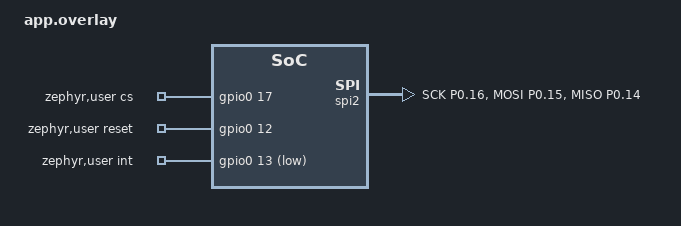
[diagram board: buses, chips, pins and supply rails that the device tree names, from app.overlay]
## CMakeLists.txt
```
#
# AD5941 3-electrode potentiostat firmware (nRF52832, NCS v3.4)
# 3전극 정전위 크로노암페로메트리 브링업 펌웨어
#
cmake_minimum_required(VERSION 3.20.0)

find_package(Zephyr REQUIRED HINTS $ENV{ZEPHYR_BASE})
project(ad5941_pstat)

# ADI AD5940 라이브러리는 대상 칩을 컴파일 타임에 선택해야 함.
# AD5941 = AD594x 계열 -> CHIPSEL_594X. (헤더 상단의 #error 방지)
target_compile_definitions(app PRIVATE CHIPSEL_594X)

target_sources(app PRIVATE
	src/main.c
	src/databuf.c              # 무손실 데이터 버퍼
	src/cmd.c                  # JSON 명령 파서
	src/ad5940_port.c          # nRF52832 / Zephyr HAL 포트 계층
	src/ad5940lib/ad5940.c     # ADI 공식 라이브러리 (벤더링, 수정 금지)
)

target_include_directories(app PRIVATE src/ad5940lib)
```

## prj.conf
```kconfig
# ============================================================
#  AD5941 potentiostat 브링업 (RTT 로그 + BLE NUS 스트리밍)
# ============================================================

# ---- Bluetooth (BLE NUS) : emg_ble 구조 재활용 ----
CONFIG_BT=y
CONFIG_BT_PERIPHERAL=y
CONFIG_BT_DEVICE_NAME="ad5941"
CONFIG_BT_NUS=y

# MTU / throughput (전류값 한 줄이 기본 MTU 20B 를 넘을 수 있어 크게)
CONFIG_BT_L2CAP_TX_MTU=247
CONFIG_BT_BUF_ACL_TX_SIZE=251
CONFIG_BT_BUF_ACL_RX_SIZE=251
CONFIG_BT_CTLR_DATA_LENGTH_MAX=251
# 폰이 MTU 를 안 올려도 우리가 먼저 교환하려면 GATT client 절차 필요.
CONFIG_BT_GATT_CLIENT=y

# 32MHz HFXO 시동 대기시간 여유 (emg_ble 이력: 느린 크리스탈 재시동 실패 우회).
# 이 보드에서 단독 구동 시 광고가 불안정하면 main.c 의 HFXO_ALWAYS_ON=1 도 고려.
CONFIG_MPSL_HFCLK_LATENCY=5000

# ---- Peripherals ----
CONFIG_SPI=y
CONFIG_GPIO=y

# ---- 부동소수점 ----
# nRF52832 = Cortex-M4F (하드웨어 FPU 있음).
# AD5940_ADCCode2Volt() 등 라이브러리가 float 를 쓰므로 FPU 켬.
CONFIG_FPU=y
# 로그에서 전류값을 %f 로 찍기 위해 printf float 지원 필요.
CONFIG_CBPRINTF_FP_SUPPORT=y

# ---- LFCLK 소스 ----
# 새 커스텀 보드라 32.768kHz 크리스탈 실장 여부가 불확실 -> 내부 RC 로 시작(무조건 기동).
# RC 도 BLE 에 쓸 수 있으나(NCS 가 자동 보정), 연결/광고가 불안정하면 크리스탈 실장 후
# 아래 한 줄을 지워 기본값(XTAL)로 전환할 것.
CONFIG_CLOCK_CONTROL_NRF_K32SRC_RC=y

# ---- Logging: SEGGER RTT, non-blocking(overwrite) ----
# overwrite 모드 = RTT Viewer 가 안 붙어 있어도 절대 블록되지 않음.
CONFIG_LOG=y
CONFIG_USE_SEGGER_RTT=y
CONFIG_LOG_BACKEND_RTT=y
CONFIG_LOG_BACKEND_RTT_MODE_OVERWRITE=y
CONFIG_SEGGER_RTT_BUFFER_SIZE_UP=2048
CONFIG_LOG_MODE_DEFERRED=y

# ---- Stacks ----
# ad5940 라이브러리 + float 연산 여유 있게.
CONFIG_MAIN_STACK_SIZE=4096
CONFIG_HEAP_MEM_POOL_SIZE=2048
```

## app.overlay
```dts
/*
 * ============================================================
 *  AD5941 <-> nRF52832 배선 정의  (실제 PCB 스키매틱 기준 확정)
 *  ------------------------------------------------------------
 *  AD5941 신호      넷          nRF52832 핀    비고
 *  ---------------  ----------  ------------   ----------------------
 *  SCLK    (pin16)  AD_SCLK     P0.16          SPI clock (<=8MHz on nRF)
 *  MOSI    (pin17)  AD_MOSI     P0.15          nRF -> AD5941 (SDI)
 *  MISO    (pin18)  AD_MISO     P0.14          AD5941 -> nRF (SDO)
 *  CS      (pin15)  AD_CS       P0.17          active-low, 펌웨어가 수동 토글
 *  RESET   (pin22)  AD_RESET    P0.12          active-low 하드웨어 리셋
 *  INT/GPIO0(pin19) AD_INT0     P0.13          AD5941 인터럽트 출력(active-low)
 *
 *  전극: CE0(47)=상대, RE0(48)=기준, SE0(45)=작업(WE). VBIAS0/VZERO0 연결, DE0 DNP.
 *  AD5941 XTALO(12) 미연결 -> 내부 오실레이터 사용 (펌웨어도 내부 osc 가정).
 *  주의: AD5941 SPI 는 최대 16MHz 지만 nRF52832 SPIM 은 8MHz 가 상한.
 * ============================================================
 */

#include <zephyr/dt-bindings/regulator/nrf5x.h>

/*
 * 전원 레귤레이터: LDO 모드 강제.
 * (DK 정의는 DC/DC 를 켜는데, DCC 핀에 외부 인덕터가 없는 커스텀 보드에서
 *  DC/DC 가 켜지면 레일이 무너짐. LDO 는 인덕터 없이 항상 동작.)
 */
&reg {
	regulator-initial-mode = <NRF5X_REG_MODE_LDO>;
};

&pinctrl {
	spi2_default: spi2_default {
		group1 {
			psels = <NRF_PSEL(SPIM_SCK, 0, 16)>,   /* SCLK : P0.16 */
				<NRF_PSEL(SPIM_MOSI, 0, 15)>,  /* MOSI : P0.15 */
				<NRF_PSEL(SPIM_MISO, 0, 14)>;  /* MISO : P0.14 */
		};
	};

	spi2_sleep: spi2_sleep {
		group1 {
			psels = <NRF_PSEL(SPIM_SCK, 0, 16)>,
				<NRF_PSEL(SPIM_MOSI, 0, 15)>,
				<NRF_PSEL(SPIM_MISO, 0, 14)>;
			low-power-enable;
		};
	};
};

&spi2 {
	compatible = "nordic,nrf-spim";
	status = "okay";
	pinctrl-0 = <&spi2_default>;
	pinctrl-1 = <&spi2_sleep>;
	pinctrl-names = "default", "sleep";
	/* CS 는 여기 cs-gpios 로 두지 않는다: ad5940 라이브러리가 멀티바이트
	 * 전송 한 프레임 안에서 CS 를 직접 토글하므로, 드라이버가 CS 를 건드리면
	 * 프로토콜이 깨진다. -> CS 는 아래 zephyr,user 의 GPIO 로 수동 제어. */
};

/ {
	zephyr,user {
		/* CS/RESET: ACTIVE_HIGH 로 선언해 포트가 물리 레벨을 직접 구동
		 * (AD5940_CsClr=물리 LOW=선택, AD5940_CsSet=물리 HIGH=해제 의미와 일치). */
		cs-gpios    = <&gpio0 17 GPIO_ACTIVE_HIGH>;  /* CS_N    : P0.17 */
		reset-gpios = <&gpio0 12 GPIO_ACTIVE_HIGH>;  /* RESET_N : P0.12 */
		/* INT 는 AD5941 GP0 인터럽트 출력이 active-low. */
		int-gpios   = <&gpio0 13 GPIO_ACTIVE_LOW>;   /* INT     : P0.13 */
	};
};
```

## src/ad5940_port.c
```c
/*
 * ============================================================
 *  ad5940_port.c
 *  ADI AD5940 라이브러리 <-> nRF52832 / Zephyr HAL 포트 계층
 *  ------------------------------------------------------------
 *  ad5940.c 가 요구하는 저수준 함수만 구현한다:
 *    - AD5940_ReadWriteNBytes : SPI 풀듀플렉스 전송 (CS 를 건드리지 않음!)
 *    - AD5940_CsClr / CsSet    : CS 물리 LOW / HIGH
 *    - AD5940_RstClr / RstSet  : RESET 물리 LOW / HIGH
 *    - AD5940_Delay10us        : 10us 단위 지연
 *    - AD5940_MCUResourceInit  : SPI/GPIO 초기화
 *    - AD5940_GetMCUIntFlag / ClrMCUIntFlag : GP0 인터럽트 플래그
 *
 *  라이브러리(ad5940.c)가 AD5940_ReadReg/WriteReg 안에서 CsClr...CsSet 로
 *  프레임을 직접 감싸므로, 여기 SPI 전송은 절대 CS 를 토글하면 안 된다.
 *  => spi_config 에 cs 를 넣지 않고, CS 를 별도 GPIO 로 수동 제어한다.
 * ============================================================
 */

#include <zephyr/kernel.h>
#include <zephyr/device.h>
#include <zephyr/drivers/spi.h>
#include <zephyr/drivers/gpio.h>
#include <zephyr/logging/log.h>

#include "ad5940.h"

LOG_MODULE_REGISTER(ad5940_port, LOG_LEVEL_INF);

/* ---- SPI ---- */
#define SPI_NODE DT_NODELABEL(spi2)
static const struct device *const spi_dev = DEVICE_DT_GET(SPI_NODE);

/* CS 는 드라이버가 관리하지 않는다 (cs 필드 비움). SPI mode 0, 8bit, MSB first. */
static const struct spi_config spi_cfg = {
	.frequency = 1000000U,                      /* 1MHz: 신호 무결성 우선(브링업). 확인되면 올려도 됨(상한 8MHz) */
	.operation = SPI_WORD_SET(8) | SPI_TRANSFER_MSB |
		     SPI_OP_MODE_MASTER,            /* CPOL=0 CPHA=0 = mode 0 */
	.slave = 0,
	.cs = { 0 },
};

/* ---- 제어 GPIO (app.overlay 의 zephyr,user) ---- */
#define ZUSER DT_PATH(zephyr_user)
static const struct gpio_dt_spec cs_gpio  = GPIO_DT_SPEC_GET(ZUSER, cs_gpios);
static const struct gpio_dt_spec rst_gpio = GPIO_DT_SPEC_GET(ZUSER, reset_gpios);
static const struct gpio_dt_spec int_gpio = GPIO_DT_SPEC_GET(ZUSER, int_gpios);

/* ---- INT 플래그 ---- */
static volatile uint32_t ucInterrupted;
static struct gpio_callback int_cb_data;

static void ad5940_int_isr(const struct device *dev, struct gpio_callback *cb,
			   uint32_t pins)
{
	ARG_UNUSED(dev);
	ARG_UNUSED(cb);
	ARG_UNUSED(pins);
	ucInterrupted = 1;
}

/* ============================================================
 *  SPI 전송 (CS 미제어)
 * ============================================================ */
void AD5940_ReadWriteNBytes(unsigned char *pSendBuffer,
			    unsigned char *pRecvBuffer,
			    unsigned long length)
{
	const struct spi_buf tx_buf = { .buf = pSendBuffer, .len = length };
	const struct spi_buf rx_buf = { .buf = pRecvBuffer, .len = length };
	const struct spi_buf_set tx = { .buffers = &tx_buf, .count = 1 };
	const struct spi_buf_set rx = { .buffers = &rx_buf, .count = 1 };

	int err = spi_transceive(spi_dev, &spi_cfg, &tx, &rx);

	if (err) {
		LOG_ERR("spi_transceive failed: %d", err);
	}
}

/* ============================================================
 *  CS / RESET (물리 레벨 직접 구동; overlay 에서 ACTIVE_HIGH 선언)
 * ============================================================ */
void AD5940_CsClr(void)  { gpio_pin_set_dt(&cs_gpio, 0);  }  /* CS LOW  (선택)   */
void AD5940_CsSet(void)  { gpio_pin_set_dt(&cs_gpio, 1);  }  /* CS HIGH (해제)   */
void AD5940_RstClr(void) { gpio_pin_set_dt(&rst_gpio, 0); }  /* RESET LOW (assert) */
void AD5940_RstSet(void) { gpio_pin_set_dt(&rst_gpio, 1); }  /* RESET HIGH(release)*/

/* ============================================================
 *  지연 (인자는 10us 단위)
 * ============================================================ */
void AD5940_Delay10us(uint32_t time)
{
	if (time == 0U) {
		return;
	}
	/* 10us * time. 긴 지연은 CPU 를 재우고, 짧은 지연은 busy-wait. */
	if (time >= 100U) {                 /* >=1ms 는 sleep */
		k_usleep(time * 10U);
	} else {
		k_busy_wait(time * 10U);
	}
}

/* ============================================================
 *  MCU 인터럽트 플래그 (라이브러리가 FIFO/시퀀서 인터럽트에 사용)
 * ============================================================ */
uint32_t AD5940_GetMCUIntFlag(void) { return ucInterrupted; }
uint32_t AD5940_ClrMCUIntFlag(void) { ucInterrupted = 0; return 1; }

/* ============================================================
 *  MCU 리소스 초기화 (SPI 준비 확인 + GPIO 설정)
 *  반환 0 = 성공.
 * ============================================================ */
uint32_t AD5940_MCUResourceInit(void *pCfg)
{
	ARG_UNUSED(pCfg);

	if (!device_is_ready(spi_dev)) {
		LOG_ERR("SPI device not ready");
		return 1;
	}
	if (!gpio_is_ready_dt(&cs_gpio) || !gpio_is_ready_dt(&rst_gpio) ||
	    !gpio_is_ready_dt(&int_gpio)) {
		LOG_ERR("control GPIO not ready");
		return 1;
	}

	/* CS 해제(HIGH), RESET 릴리스(HIGH) 상태로 시작 */
	gpio_pin_configure_dt(&cs_gpio, GPIO_OUTPUT_INACTIVE);
	gpio_pin_set_dt(&cs_gpio, 1);
	gpio_pin_configure_dt(&rst_gpio, GPIO_OUTPUT_INACTIVE);
	gpio_pin_set_dt(&rst_gpio, 1);

	/* INT: active-low 엣지 인터럽트 */
	gpio_pin_configure_dt(&int_gpio, GPIO_INPUT);
	gpio_pin_interrupt_configure_dt(&int_gpio, GPIO_INT_EDGE_TO_ACTIVE);
	gpio_init_callback(&int_cb_data, ad5940_int_isr, BIT(int_gpio.pin));
	gpio_add_callback(int_gpio.port, &int_cb_data);

	ucInterrupted = 0;
	return 0;
}
```

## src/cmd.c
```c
/*
 * cmd.c — 소형 JSON 명령 파서 (고정 스키마 전용, 범용 아님)
 *  우리 명령 집합만 안전하게 뽑아내는 최소 구현.
 */
#include "cmd.h"
#include <zephyr/sys/util.h>
#include <stdlib.h>
#include <string.h>
#include <stdio.h>

/* "key" 뒤 콜론 다음 값의 시작 포인터 반환 (없으면 NULL) */
static const char *jfind(const char *buf, const char *key)
{
	char pat[24];
	snprintf(pat, sizeof(pat), "\"%s\"", key);
	const char *p = strstr(buf, pat);
	if (!p) {
		return NULL;
	}
	p += strlen(pat);
	while (*p && *p != ':') {
		p++;
	}
	if (*p != ':') {
		return NULL;
	}
	p++;
	while (*p == ' ' || *p == '\t') {
		p++;
	}
	return p;
}

static bool jint(const char *buf, const char *key, long *out)
{
	const char *p = jfind(buf, key);
	if (!p) {
		return false;
	}
	char *end = NULL;
	long v = strtol(p, &end, 10);
	if (end == p) {
		return false;
	}
	*out = v;
	return true;
}

static bool jstr(const char *buf, const char *key, char *out, size_t n)
{
	const char *p = jfind(buf, key);
	if (!p || *p != '"') {
		return false;
	}
	p++;
	size_t i = 0;
	while (*p && *p != '"' && i < n - 1) {
		out[i++] = *p++;
	}
	out[i] = '\0';
	return true;
}

bool cmd_parse(const char *json, size_t len, struct cmd *out,
	       const struct pstat_config *base)
{
	char buf[192];
	size_t n = (len < sizeof(buf) - 1) ? len : sizeof(buf) - 1;
	memcpy(buf, json, n);
	buf[n] = '\0';

	char c[16];
	if (!jstr(buf, "cmd", c, sizeof(c))) {
		return false;
	}

	memset(out, 0, sizeof(*out));
	long v;

	if (!strcmp(c, "ack")) {
		out->type = CMD_ACK;
		if (jint(buf, "seq", &v)) {
			out->ack_seq = (uint32_t)v;
		}
		return true;
	}
	if (!strcmp(c, "stop")) {
		out->type = CMD_STOP;
		return true;
	}
	if (!strcmp(c, "status")) {
		out->type = CMD_STATUS;
		return true;
	}
	if (!strcmp(c, "cal")) {
		out->type = CMD_CAL;
		return true;
	}
	if (!strcmp(c, "config") || !strcmp(c, "start")) {
		out->type = strcmp(c, "start") ? CMD_CONFIG : CMD_START;
		out->cfg = *base;   /* 미지정 필드는 현재값 유지 */

		if (jint(buf, "rate", &v)) {
			out->cfg.rate_hz = (uint16_t)CLAMP(v, 1, 100);
		}
		char m[12];
		if (jstr(buf, "mode", m, sizeof(m))) {
			if (!strcmp(m, "continuous")) {
				out->cfg.mode = PSTAT_MODE_CONTINUOUS;
			} else if (!strcmp(m, "timed")) {
				out->cfg.mode = PSTAT_MODE_TIMED;
			} else if (!strcmp(m, "cycle")) {
				out->cfg.mode = PSTAT_MODE_CYCLE;
			}
		}
		/* 초 값 상한: *1000(ms) 가 uint32 를 넘지 않게 (49.7일 한계 아래) */
		if (jint(buf, "dur", &v)) {
			out->cfg.duration_s = (uint32_t)CLAMP(v, 0, 4000000);
		}
		if (jint(buf, "on", &v)) {
			out->cfg.on_s = (uint32_t)CLAMP(v, 0, 4000000);
		}
		if (jint(buf, "off", &v)) {
			out->cfg.off_s = (uint32_t)CLAMP(v, 0, 4000000);
		}
		if (jint(buf, "cycles", &v)) {
			out->cfg.cycles = (uint32_t)MAX(v, 0);
		}
		if (jint(buf, "auto", &v)) {
			out->cfg.autorange = (v != 0);
		}
		if (jint(buf, "range", &v)) {
			out->cfg.range_idx = (uint8_t)MAX(v, 0);
		}
		return true;
	}
	return false;
}
```

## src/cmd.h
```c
/*
 * cmd.h — BLE(NUS)로 받는 JSON 명령 파서
 *  명령 예:
 *   {"cmd":"start","mode":"cycle","rate":10,"on":5,"off":295,"cycles":0,"auto":1}
 *   {"cmd":"config",...}   {"cmd":"stop"}   {"cmd":"status"}
 *   {"cmd":"ack","seq":1234}
 *  전위는 펌웨어 고정(0.5V)이라 명령에 없음.
 */
#ifndef CMD_H_
#define CMD_H_

#include "pstat.h"
#include <stddef.h>

enum cmd_type {
	CMD_NONE = 0,
	CMD_CONFIG,
	CMD_START,
	CMD_STOP,
	CMD_ACK,
	CMD_STATUS,
	CMD_CAL,     /* {"cmd":"cal"} — RCAL 자동캘 온디맨드 실행 (idle 에서만) */
};

struct cmd {
	enum cmd_type type;
	struct pstat_config cfg; /* CONFIG/START: base 에서 시작해 지정 필드만 덮음 */
	uint32_t ack_seq;        /* ACK */
};

/* JSON 한 줄 파싱. base=현재 설정(미지정 필드 기본값). 성공 시 true. */
bool cmd_parse(const char *json, size_t len, struct cmd *out,
	       const struct pstat_config *base);

#endif /* CMD_H_ */
```

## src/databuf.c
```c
/*
 * databuf.c — 무손실 데이터 버퍼 구현 (RAM 링버퍼 + ACK 윈도우)
 *  seq 비교는 전부 부호있는 모듈러 차이((int32_t)(x-y)) 사용
 *  -> uint32 랩어라운드에도 안전 (497일+ 연속운전 대비).
 */
#include "databuf.h"
#include <zephyr/kernel.h>
#include <string.h>

/* 링버퍼 크기: 16B/샘플 * 768 = 12KB (RAM 여유 확보).
 * cycle 모드(측정 5s@10Hz=50샘플/주기)면 ~15주기 무연결 버퍼링.
 * 고속 연속(100Hz)이면 ~7.5s. 장시간은 향후 플래시 spill 로 확장. */
#define RING_N 768U

/* 모듈러 대소비교: a>b 이면 양수 (랩 안전) */
#define SEQ_GT(a, b)  ((int32_t)((a) - (b)) > 0)
#define SEQ_GE(a, b)  ((int32_t)((a) - (b)) >= 0)

static struct pstat_sample ring[RING_N];
static uint32_t w_idx;   /* 다음 write seq */
static uint32_t a_idx;   /* seq < a_idx 는 ACK/해제됨 */
static uint32_t s_idx;   /* 다음 send seq (a<=s<=w) */
static bool     had_gap;
static K_MUTEX_DEFINE(lock);

void databuf_reset(void)
{
	k_mutex_lock(&lock, K_FOREVER);
	w_idx = a_idx = s_idx = 0;
	had_gap = false;
	k_mutex_unlock(&lock);
}

void databuf_push(const struct pstat_sample *s)
{
	k_mutex_lock(&lock, K_FOREVER);
	ring[w_idx % RING_N] = *s;
	ring[w_idx % RING_N].seq = w_idx;   /* seq 강제 부여 */
	w_idx++;
	if (w_idx - a_idx > RING_N) {        /* 용량 초과 -> 가장 오래된 것 손실 */
		a_idx = w_idx - RING_N;
		had_gap = true;
		if (SEQ_GT(a_idx, s_idx)) {
			s_idx = a_idx;
		}
	}
	k_mutex_unlock(&lock);
}

uint32_t databuf_peek_batch(struct pstat_sample *out, uint32_t max, uint32_t *base)
{
	uint32_t k = 0;
	k_mutex_lock(&lock, K_FOREVER);
	*base = s_idx;
	uint32_t i = s_idx;
	while (SEQ_GT(w_idx, i) && k < max) {
		out[k++] = ring[i % RING_N];
		i++;
	}
	k_mutex_unlock(&lock);
	return k;
}

void databuf_commit_sent(uint32_t base, uint32_t n)
{
	k_mutex_lock(&lock, K_FOREVER);
	uint32_t target = base + n;
	/* 절대위치 확정: 이미 overflow 로 s 가 target 이상으로 당겨졌으면 유지
	 * (이중전진 금지 -> 살아있는 미전송분 보존) */
	if (SEQ_GT(target, s_idx)) {
		s_idx = target;
	}
	if (SEQ_GT(s_idx, w_idx)) {
		s_idx = w_idx;
	}
	k_mutex_unlock(&lock);
}

void databuf_ack(uint32_t acked_seq)
{
	k_mutex_lock(&lock, K_FOREVER);
	uint32_t na = acked_seq + 1;
	if (SEQ_GT(na, a_idx) && SEQ_GE(w_idx, na)) {   /* 유효 범위 내에서만 */
		a_idx = na;
		if (SEQ_GT(a_idx, s_idx)) {
			s_idx = a_idx;
		}
	}
	k_mutex_unlock(&lock);
}

void databuf_rewind_unsent(void)
{
	k_mutex_lock(&lock, K_FOREVER);
	s_idx = a_idx;   /* 미ACK분 처음부터 재전송 */
	k_mutex_unlock(&lock);
}

uint32_t databuf_pending(void)
{
	k_mutex_lock(&lock, K_FOREVER);
	uint32_t v = w_idx - s_idx;
	k_mutex_unlock(&lock);
	return v;
}

uint32_t databuf_unacked(void)
{
	k_mutex_lock(&lock, K_FOREVER);
	uint32_t v = w_idx - a_idx;
	k_mutex_unlock(&lock);
	return v;
}

uint32_t databuf_capacity(void) { return RING_N; }

bool databuf_gap(void)
{
	k_mutex_lock(&lock, K_FOREVER);
	bool g = had_gap;
	k_mutex_unlock(&lock);
	return g;
}
```

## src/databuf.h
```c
/*
 * databuf.h — 무손실 데이터 버퍼 (RAM 링버퍼 + ACK 윈도우)
 * ------------------------------------------------------------
 *  seq 는 전역 단조증가(uint32, 랩어라운드 안전 비교 사용). 세 포인터:
 *    a(ack) <= s(sent) <= w(write)
 *  - push:  seq=w 부여 후 저장. 용량 초과 시 가장 오래된 것 덮어씀(gap 표시).
 *  - peek_batch: 미전송분(s..w) 복사 + 배치 시작 seq(base) 반환 (s 전진 안함).
 *  - commit_sent(base,n): s 를 base+n 절대위치로 확정.
 *      전송(락 해제) 중 overflow 로 a/s 가 전진했어도 이중전진 없이
 *      s = max(s, base+n) (w 상한) 로만 이동 -> 유효 미전송분 보존.
 *  - ack: 앱이 받은 최대 seq 까지 해제(a 전진).
 *  - rewind_unsent: 재연결 시 미ACK분(a..) 부터 재전송(s=a).
 *  => 앱 ACK 전엔 버퍼에서 안 지워지므로 재연결하면 무손실 재전송.
 *
 *  [향후] 용량 초과 임박 시 플래시 spill (TODO, 이번엔 RAM 만).
 */
#ifndef DATABUF_H_
#define DATABUF_H_

#include "pstat.h"

void     databuf_reset(void);
void     databuf_push(const struct pstat_sample *s);      /* seq 자동부여 */
/* 미전송분 복사. *base=배치 시작 seq. 반환=복사 개수 (s 전진 안함) */
uint32_t databuf_peek_batch(struct pstat_sample *out, uint32_t max, uint32_t *base);
void     databuf_commit_sent(uint32_t base, uint32_t n);  /* base..base+n-1 전송확정 */
void     databuf_ack(uint32_t acked_seq);                 /* acked_seq 까지 해제 */
void     databuf_rewind_unsent(void);                     /* s=a 로 되감기 */

uint32_t databuf_pending(void);   /* 미전송 개수 (w-s) */
uint32_t databuf_unacked(void);   /* 미ACK 개수 (w-a) */
uint32_t databuf_capacity(void);  /* 링버퍼 용량 */
bool     databuf_gap(void);       /* 손실(덮어쓰기) 발생 여부 */

#endif /* DATABUF_H_ */
```

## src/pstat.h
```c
/*
 * pstat.h — 크로노암페로메트리 포텐쇼스탯 공유 타입
 * 전위는 +0.5V 고정이므로 config 에 전압 필드는 없음.
 */
#ifndef PSTAT_H_
#define PSTAT_H_

#include <stdint.h>
#include <stdbool.h>

/* 실행 모드 */
enum pstat_mode {
	PSTAT_MODE_CONTINUOUS = 0, /* 무한 (stop 까지) */
	PSTAT_MODE_TIMED,          /* duration_s 후 자동정지 */
	PSTAT_MODE_CYCLE,          /* on_s 측정 / off_s 대기(바이어스 off) 반복 */
};

/* 실행 상태 */
enum pstat_state {
	PSTAT_IDLE = 0,
	PSTAT_RUN,        /* 측정중 */
	PSTAT_CYCLE_REST, /* cycle 대기 (바이어스 off) */
};

/* 앱에서 받는 측정 설정 */
struct pstat_config {
	uint16_t rate_hz;    /* 샘플레이트 1~100 */
	uint8_t  mode;       /* enum pstat_mode */
	bool     autorange;  /* true=오토레인지 */
	uint8_t  range_idx;  /* 오토 시작/수동 레인지 인덱스 (RTIA 테이블) */
	uint32_t duration_s; /* TIMED: 측정 시간 */
	uint32_t on_s;       /* CYCLE: 측정 구간 */
	uint32_t off_s;      /* CYCLE: 대기 구간 */
	uint32_t cycles;     /* CYCLE: 반복 횟수 (0=무한) */
};

/* 한 측정 샘플 (16바이트) */
struct pstat_sample {
	uint32_t seq;        /* 전역 시퀀스(=인덱스), databuf 가 부여 */
	uint32_t t_ms;       /* 런 시작 후 경과 ms */
	float    current_nA; /* 전류 (레인지 반영해 환산됨) */
	uint8_t  range_idx;  /* 이 샘플의 RTIA 레인지 인덱스 */
	uint8_t  _pad[3];
};

#endif /* PSTAT_H_ */
```
